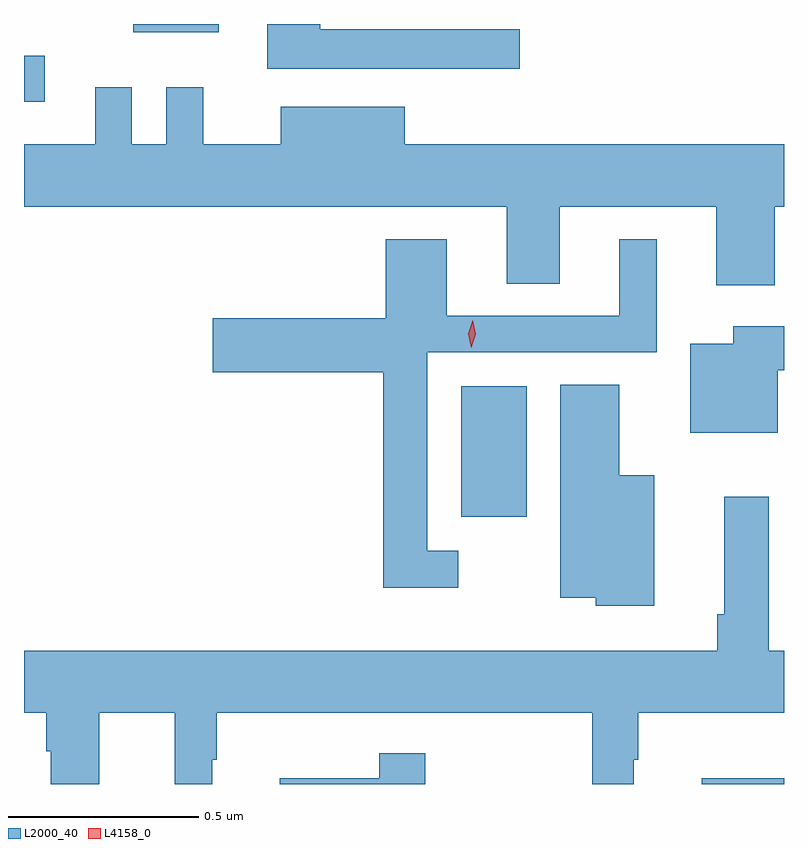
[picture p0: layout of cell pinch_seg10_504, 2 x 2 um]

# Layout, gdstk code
import gdstk
lib = gdstk.Library(unit=1e-6, precision=1e-09)
def R(c, l, rs):  # rectangles x0, y0, x1, y1
    for r in rs: c.add(gdstk.rectangle(r[:2], r[2:], *l))
def P(c, l, *ps):  # polygons
    for p in ps: c.add(gdstk.Polygon(p, *l))
L2000_40 = (2000, 40)
L4158_0 = (4158, 0)

pinch_seg10_504 = lib.new_cell('pinch_seg10_504')
R(pinch_seg10_504, L2000_40, [(319.136,1300.129,319.353,1300.144), (318.503,1300.832,318.676,1301.176), (317.353,1301.924,317.407,1302.046), (317.64,1302.107,317.866,1302.129)])
P(pinch_seg10_504, L2000_40, [(318.658,1302.115),(318.133,1302.115),(318.133,1302.129),(317.993,1302.129),(317.993,1302.011),(318.658,1302.011)],
  [(319.328,1301.648),(319.353,1301.648),(319.353,1301.812),(318.355,1301.812),(318.355,1301.911),(318.029,1301.911),(318.029,1301.812),(317.825,1301.812),(317.825,1301.962),(317.727,1301.962),(317.727,1301.812),(317.637,1301.812),(317.637,1301.962),(317.54,1301.962),(317.54,1301.812),(317.353,1301.812),(317.353,1301.648),(318.623,1301.648),(318.623,1301.446),(318.763,1301.446),(318.763,1301.648),(319.175,1301.648),(319.175,1301.442),(319.328,1301.442)],
  [(318.496,1300.743),(318.414,1300.743),(318.414,1301.265),(319.018,1301.265),(319.018,1301.563),(318.92,1301.563),(318.92,1301.361),(318.466,1301.361),(318.466,1301.563),(318.305,1301.563),(318.305,1301.355),(317.85,1301.355),(317.85,1301.213),(318.298,1301.213),(318.298,1300.646),(318.496,1300.646)],
  [(319.336,1301.218),(319.353,1301.218),(319.353,1301.334),(319.22,1301.334),(319.22,1301.287),(319.106,1301.287),(319.106,1301.054),(319.336,1301.054)],
  [(319.012,1300.942),(318.919,1300.942),(318.919,1301.18),(318.764,1301.18),(318.764,1300.619),(318.858,1300.619),(318.858,1300.598),(319.012,1300.598)],
  [(317.551,1300.316),(317.75,1300.316),(317.75,1300.129),(317.848,1300.129),(317.848,1300.193),(317.86,1300.193),(317.86,1300.316),(318.849,1300.316),(318.849,1300.129),(318.958,1300.129),(318.958,1300.193),(318.97,1300.193),(318.97,1300.316),(319.353,1300.316),(319.353,1300.48),(319.313,1300.48),(319.313,1300.885),(319.196,1300.885),(319.196,1300.576),(319.177,1300.576),(319.177,1300.48),(317.353,1300.48),(317.353,1300.316),(317.411,1300.316),(317.411,1300.215),(317.423,1300.215),(317.423,1300.129),(317.551,1300.129)],
  [(318.409,1300.21),(318.288,1300.21),(318.288,1300.144),(318.026,1300.144),(318.026,1300.129),(318.409,1300.129)])
P(pinch_seg10_504, L4158_0, [(318.53,1301.277),(318.53,1301.277),(318.522,1301.314),(318.534,1301.349),(318.534,1301.349),(318.534,1301.349),(318.542,1301.312),(318.53,1301.277)])

lib.write_gds('pinch_seg10_504.gds')
